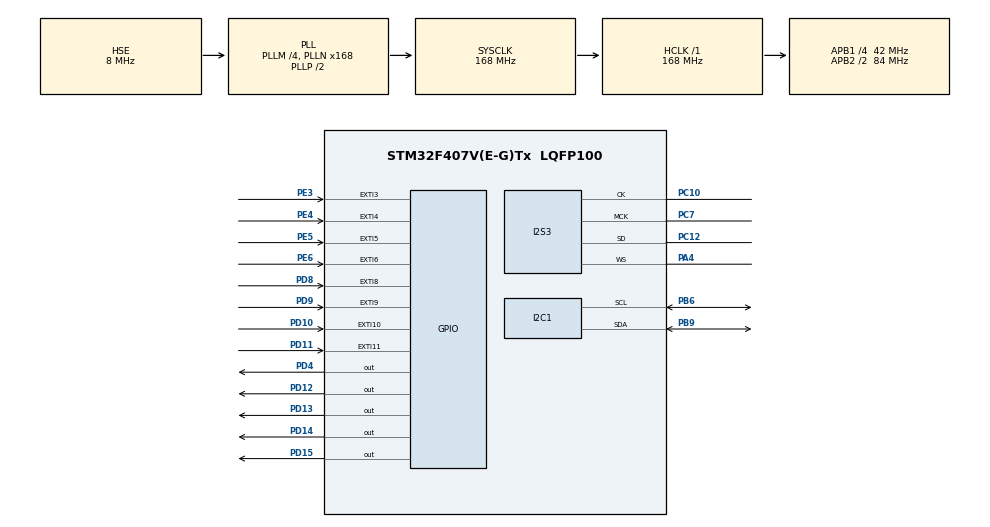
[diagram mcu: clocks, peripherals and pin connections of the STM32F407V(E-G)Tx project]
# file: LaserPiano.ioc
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Dma.Request0=SPI3_TX
Dma.SPI3_TX.0.Direction=DMA_MEMORY_TO_PERIPH
Dma.SPI3_TX.0.FIFOMode=DMA_FIFOMODE_ENABLE
Dma.SPI3_TX.0.FIFOThreshold=DMA_FIFO_THRESHOLD_FULL
Dma.SPI3_TX.0.Instance=DMA1_Stream5
Dma.SPI3_TX.0.MemBurst=DMA_MBURST_SINGLE
Dma.SPI3_TX.0.MemDataAlignment=DMA_MDATAALIGN_HALFWORD
Dma.SPI3_TX.0.MemInc=DMA_MINC_ENABLE
Dma.SPI3_TX.0.Mode=DMA_CIRCULAR
Dma.SPI3_TX.0.PeriphBurst=DMA_PBURST_SINGLE
Dma.SPI3_TX.0.PeriphDataAlignment=DMA_PDATAALIGN_HALFWORD
Dma.SPI3_TX.0.PeriphInc=DMA_PINC_DISABLE
Dma.SPI3_TX.0.Priority=DMA_PRIORITY_LOW
I2S3.AudioFreq=I2S_AUDIOFREQ_48K
I2S3.ErrorAudioFreq=-2.34 %
I2S3.FullDuplexMode=I2S_FULLDUPLEXMODE_DISABLE
I2S3.Instance=SPI$Index
I2S3.RealAudioFreq=46.875 KHz
I2S3.VirtualMode=I2S_MODE_MASTER
Mcu.Family=STM32F4
Mcu.Name=STM32F407V(E-G)Tx
Mcu.Package=LQFP100
NVIC.DMA1_Stream5_IRQn=true\:0\:0\:false\:false\:true\:false\:true
NVIC.EXTI15_10_IRQn=true\:0\:0\:false\:false\:true\:true\:true
NVIC.EXTI3_IRQn=true\:0\:0\:false\:false\:true\:true\:true
NVIC.EXTI4_IRQn=true\:0\:0\:false\:false\:true\:true\:true
NVIC.EXTI9_5_IRQn=true\:0\:0\:false\:false\:true\:true\:true
NVIC.PriorityGroup=NVIC_PRIORITYGROUP_4
NVIC.TIM4_IRQn=true\:0\:0\:false\:false\:true\:true\:true
PA4.Mode=Half_Duplex_Master
PA4.Signal=I2S3_WS
PB6.Mode=I2C
PB6.Signal=I2C1_SCL
PB7.Signal=S_TIM4_CH2
PB9.Mode=I2C
PB9.Signal=I2C1_SDA
PC10.Mode=Half_Duplex_Master
PC10.Signal=I2S3_CK
PC12.Mode=Half_Duplex_Master
PC12.Signal=I2S3_SD
PC7.Mode=Master_Clock_Activated
PC7.Signal=I2S3_MCK
PD10.GPIO_ModeDefaultEXTI=GPIO_MODE_IT_RISING_FALLING
PD10.GPIO_PuPd=GPIO_PULLDOWN
PD10.Signal=GPXTI10
PD11.GPIO_ModeDefaultEXTI=GPIO_MODE_IT_RISING_FALLING
PD11.GPIO_PuPd=GPIO_PULLDOWN
PD11.Signal=GPXTI11
PD12.GPIO_PuPd=GPIO_PULLDOWN
PD12.Signal=GPIO_Output
PD13.GPIO_PuPd=GPIO_PULLDOWN
PD13.Signal=GPIO_Output
PD14.GPIO_PuPd=GPIO_PULLDOWN
PD14.Signal=GPIO_Output
PD15.GPIO_PuPd=GPIO_PULLDOWN
PD15.Signal=GPIO_Output
PD4.Signal=GPIO_Output
PD8.GPIO_ModeDefaultEXTI=GPIO_MODE_IT_RISING_FALLING
PD8.GPIO_PuPd=GPIO_PULLDOWN
PD8.Signal=GPXTI8
PD9.GPIO_ModeDefaultEXTI=GPIO_MODE_IT_RISING_FALLING
PD9.GPIO_PuPd=GPIO_PULLDOWN
PD9.Signal=GPXTI9
PE3.GPIO_ModeDefaultEXTI=GPIO_MODE_IT_RISING_FALLING
PE3.GPIO_PuPd=GPIO_PULLDOWN
PE3.Signal=GPXTI3
PE4.GPIO_ModeDefaultEXTI=GPIO_MODE_IT_RISING_FALLING
PE4.GPIO_PuPd=GPIO_PULLDOWN
PE4.Signal=GPXTI4
PE5.GPIO_ModeDefaultEXTI=GPIO_MODE_IT_RISING_FALLING
PE5.GPIO_PuPd=GPIO_PULLDOWN
PE5.Signal=GPXTI5
PE6.GPIO_ModeDefaultEXTI=GPIO_MODE_IT_RISING_FALLING
PE6.GPIO_PuPd=GPIO_PULLDOWN
PE6.Signal=GPXTI6
PH0-OSC_IN.Mode=HSE-External-Oscillator
PH0-OSC_IN.Signal=RCC_OSC_IN
PH1-OSC_OUT.Mode=HSE-External-Oscillator
PH1-OSC_OUT.Signal=RCC_OSC_OUT
ProjectManager.HeapSize=0x200
ProjectManager.StackSize=0x400
ProjectManager.TargetToolchain=SW4STM32
RCC.48MHZClocksFreq_Value=84000000
RCC.AHBFreq_Value=168000000
RCC.APB1CLKDivider=RCC_HCLK_DIV4
RCC.APB1Freq_Value=42000000
RCC.APB1TimFreq_Value=84000000
RCC.APB2CLKDivider=RCC_HCLK_DIV2
RCC.APB2Freq_Value=84000000
RCC.APB2TimFreq_Value=168000000
RCC.CortexFreq_Value=168000000
RCC.HCLKFreq_Value=168000000
RCC.HSE_VALUE=8000000
RCC.HSI_VALUE=16000000
RCC.LSE_VALUE=32768
RCC.PLLM=4
RCC.PLLN=168
RCC.PLLSourceVirtual=RCC_PLLSOURCE_HSE
RCC.SYSCLKFreq_VALUE=168000000
RCC.SYSCLKSource=RCC_SYSCLKSOURCE_PLLCLK
RCC.VCOOutputFreq_Value=336000000
SH.S_TIM4_CH2.0=TIM4_CH2
TIM4.Period=999
TIM4.Prescaler=167
VP_TIM4_VS_ClockSourceINT.Mode=Internal
board=custom

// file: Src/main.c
/* USER CODE BEGIN Header */
/**
  ******************************************************************************
  * @file           : main.c
  * @brief          : Main program body
  ******************************************************************************
  * @attention
  *
  * <h2><center>&copy; Copyright (c) 2019 STMicroelectronics.
  * All rights reserved.</center></h2>
  *
  * This software component is licensed by ST under BSD 3-Clause license,
  * the "License"; You may not use this file except in compliance with the
  * License. You may obtain a copy of the License at:
  *                        opensource.org/licenses/BSD-3-Clause
  *
  ******************************************************************************
  */
/* USER CODE END Header */

#include "main.h"

/* USER CODE BEGIN Includes */
#include "MY_CS43L22.h"
#include <math.h>
/* USER CODE END Includes */

I2C_HandleTypeDef hi2c1;

I2S_HandleTypeDef hi2s3;
DMA_HandleTypeDef hdma_spi3_tx;

TIM_HandleTypeDef htim4;

/* USER CODE BEGIN PV */
/* Private variables ---------------------------------------------------------*/
#define PI 3.14159f
#define F_SAMPLE			48000.0f
//#define F_OUT				1760.0f
#define OCTAVE				36
float mySinVal;
float sample_dt;
uint16_t sample_N[OCTAVE];
int16_t dataI2S[OCTAVE][100];
int reset[8];	// when equals 0 turns of sound
int onesecond = 300; // 100/100Hz
int oldNotes[2];
int resetNotes[2];
#define C6 (HAL_GPIO_ReadPin(GPIOE,GPIO_PIN_3))
#define D6 (HAL_GPIO_ReadPin(GPIOE,GPIO_PIN_4))
#define E6 (HAL_GPIO_ReadPin(GPIOE,GPIO_PIN_5))
#define F6 (HAL_GPIO_ReadPin(GPIOE,GPIO_PIN_6))
#define G6 (HAL_GPIO_ReadPin(GPIOD,GPIO_PIN_8))
#define A6 (HAL_GPIO_ReadPin(GPIOD,GPIO_PIN_9))
#define H6 (HAL_GPIO_ReadPin(GPIOD,GPIO_PIN_10))
#define C7 (HAL_GPIO_ReadPin(GPIOD,GPIO_PIN_11))

/* USER CODE END PV */

void SystemClock_Config(void);
static void MX_GPIO_Init(void);
static void MX_DMA_Init(void);
static void MX_I2C1_Init(void);
static void MX_I2S3_Init(void);
static void MX_TIM4_Init(void);
/* USER CODE BEGIN PFP */
/* Private function prototypes -----------------------------------------------*/
void generate_samples(int fout[OCTAVE])	// generates sinus waves
{
	for(int k =0; k<OCTAVE; k++)
	  {
		sample_dt = fout[k]/F_SAMPLE;
		sample_N[k] = F_SAMPLE/fout[k];
		for(uint16_t i=0; i<sample_N[k]; i++)
	  	{
	  		mySinVal = sinf(i*2*PI*sample_dt);
	  		dataI2S[k][i*2] = (mySinVal )*8000;    //Right data (0 2 4 6 8 10 12)
	  		dataI2S[k][i*2 + 1] =(mySinVal )*8000; //Left data  (1 3 5 7 9 11 13)
	  	}
	  }
}

void calculateNotes(int toReturn[28], int fout[OCTAVE])	// estimate combination of notes
{
	int x=0;
	for(int j =0; j<8; j++) //calculates 28 combinations of notes
	{
			for(int k=j+1; k<8; k++)
			{
				toReturn[x++]=abs(fout[j]-fout[k]);
			}
	}
}

int calculateNoteCobination(int note1, int note2) // returns index of combined notes
{
	if(note1>note2)	// swaps notes
	{
		note1 = note1^note2;
		note2 = note2^note1;
		note1 = note1^note2;
	}
	if(note2==0)
	{
		return note1 - 1;
	}
	else if(note2==1)
	{
		return note1 + 5;
	}
	else if(note2==2)
	{
		return note1 + 10;
	}
	else if(note2==3)
	{
		return note1 + 14;
	}
	else if(note2==4)
	{
		return note1 + 17;
	}
	else if(note2==5)
	{
		return note1 + 19;
	}
	else if(note2==6)
	{
		return note1 + 20;
	}
}

void switchNotes(int note1, int note2)	// switch current notes
{
	HAL_I2S_DMAStop(&hi2s3);
	if(note2 < 0 && note1>=0)	// if only one note is playing
	{
		HAL_I2S_Transmit_DMA(&hi2s3, (uint16_t *)dataI2S[note1], sample_N[note1]*2);
	}
	else if(note1>=0 && note2>=0)	// if two notes is playing
	{
	  	HAL_I2S_Transmit_DMA(&hi2s3, (uint16_t *)dataI2S[calculateNoteCobination(note1, note2)],
	  			sample_N[calculateNoteCobination(note1, note2)]*2);
	}
}

/* USER CODE END PFP */

/* USER CODE BEGIN 0 */
void HAL_TIM_PeriodElapsedCallback(TIM_HandleTypeDef * htim)
{

	if(htim->Instance == TIM4)
	{
		for(int i = 0; i < 8; i++)
		{
			if(reset[i]>=0)	// counts down time, when note should stop playing
			{
				reset[i]--;
			}
		}
		for(int i = 0; i < 8; i++)
		{
				if(reset[i] < 0) // when note should stop playing
				{
					if(resetNotes[0] == i)
					{
						if(resetNotes[1]>=0)
						{
							resetNotes[0]=resetNotes[1];
							resetNotes[1]=-1;
						}
						else
						{
							resetNotes[0]=-1;
						}
					}
					else if(resetNotes[1] == i)
					{
						resetNotes[1]=-1;
					}
				}
			}
		if ((oldNotes[0]!=resetNotes[0]) || (oldNotes[1]!=resetNotes[1])) // switches notes
		{
			oldNotes[0] = resetNotes[0];
			oldNotes[1] = resetNotes[1];
			switchNotes(resetNotes[0], resetNotes[1]);
		}
	}
}

void setReset(int i)	// sets reset note after one second
{
	if(resetNotes[0] == -1)
	{
		resetNotes[0] = i;
		reset[i] = onesecond;	// turns of sound after one second
	}
	else if(resetNotes[1] == -1)
	{
		resetNotes[1] = i;
		reset[i] = onesecond;
	}
}

void HAL_GPIO_EXTI_Callback(uint16_t GPIO_Pin)//Turns the sound on
{

	if(C6 == GPIO_PIN_RESET)
	{
		//Note C6
		setReset(0);
	}
	if(D6 == GPIO_PIN_RESET)
	{
		//Note D6
		setReset(1);
	}
	if(E6 == GPIO_PIN_RESET)
	{
		//Note E6
		setReset(2);
	}
	if(F6 == GPIO_PIN_RESET)
	{
		//Note F6
		setReset(3);
	}
	if(G6 == GPIO_PIN_RESET)
	{
		//Note G6
		setReset(4);
	}
	if(A6 == GPIO_PIN_RESET)
	{
		//Note A6
		setReset(5);
	}
	if(H6 == GPIO_PIN_RESET)
	{
		//Note H6
		setReset(6);
	}
	if(C7 == GPIO_PIN_RESET)
	{
		//Note C7
		setReset(7);
	}
}

/* USER CODE END 0 */

int main(void)
{
  /* USER CODE BEGIN 1 */
	int notes[8] = {1047,1175,1319,1397,1568,1760,1976,2093}; // notes frequency
  for(int i=0;i<8;i++)
  {
	  reset[i] = 0;
  }
  oldNotes[0] = oldNotes[1] = -1; // turns off notes on start
  resetNotes[0] = resetNotes[1] = -1;
  int calculatedNotes[28];
  calculateNotes(calculatedNotes, notes); // sets up all combined notes
  int fout[OCTAVE];
  for(int i=0;i<8;i++){
	  fout[i]=notes[i];
  }
  int j=0;
  for(int i=8;i<OCTAVE;i++){
  	  fout[i]=calculatedNotes[j];
  	  j++;
    }

  generate_samples(fout);

  /* USER CODE END 1 */

  /* MCU Configuration--------------------------------------------------------*/

  /* Reset of all peripherals, Initializes the Flash interface and the Systick. */
  HAL_Init();

  /* Configure the system clock */
  SystemClock_Config();

  /* Initialize all configured peripherals */
  MX_GPIO_Init();
  MX_DMA_Init();
  MX_I2C1_Init();
  MX_I2S3_Init();
  MX_TIM4_Init();
  /* USER CODE BEGIN 2 */
  CS43_Init(hi2c1, MODE_I2S);
  CS43_SetVolume(80);
  CS43_Enable_RightLeft(CS43_RIGHT_LEFT);
  CS43_Start();
  HAL_TIM_Base_Start_IT(&htim4);
  /* USER CODE END 2 */

  /* Infinite loop */
  while (1)
  {

  }
}

void SystemClock_Config(void)
{
  RCC_OscInitTypeDef RCC_OscInitStruct = {0};
  RCC_ClkInitTypeDef RCC_ClkInitStruct = {0};
  RCC_PeriphCLKInitTypeDef PeriphClkInitStruct = {0};

  /** Configure the main internal regulator output voltage
  */
  __HAL_RCC_PWR_CLK_ENABLE();
  __HAL_PWR_VOLTAGESCALING_CONFIG(PWR_REGULATOR_VOLTAGE_SCALE1);
  /** Initializes the CPU, AHB and APB busses clocks
  */
  RCC_OscInitStruct.OscillatorType = RCC_OSCILLATORTYPE_HSE;
  RCC_OscInitStruct.HSEState = RCC_HSE_ON;
  RCC_OscInitStruct.PLL.PLLState = RCC_PLL_ON;
  RCC_OscInitStruct.PLL.PLLSource = RCC_PLLSOURCE_HSE;
  RCC_OscInitStruct.PLL.PLLM = 4;
  RCC_OscInitStruct.PLL.PLLN = 168;
  RCC_OscInitStruct.PLL.PLLP = RCC_PLLP_DIV2;
  RCC_OscInitStruct.PLL.PLLQ = 4;
  if (HAL_RCC_OscConfig(&RCC_OscInitStruct) != HAL_OK)
  {
    Error_Handler();
  }
  /** Initializes the CPU, AHB and APB busses clocks
  */
  RCC_ClkInitStruct.ClockType = RCC_CLOCKTYPE_HCLK|RCC_CLOCKTYPE_SYSCLK
                              |RCC_CLOCKTYPE_PCLK1|RCC_CLOCKTYPE_PCLK2;
  RCC_ClkInitStruct.SYSCLKSource = RCC_SYSCLKSOURCE_PLLCLK;
  RCC_ClkInitStruct.AHBCLKDivider = RCC_SYSCLK_DIV1;
  RCC_ClkInitStruct.APB1CLKDivider = RCC_HCLK_DIV4;
  RCC_ClkInitStruct.APB2CLKDivider = RCC_HCLK_DIV2;

  if (HAL_RCC_ClockConfig(&RCC_ClkInitStruct, FLASH_LATENCY_5) != HAL_OK)
  {
    Error_Handler();
  }
  PeriphClkInitStruct.PeriphClockSelection = RCC_PERIPHCLK_I2S;
  PeriphClkInitStruct.PLLI2S.PLLI2SN = 192;
  PeriphClkInitStruct.PLLI2S.PLLI2SR = 2;
  if (HAL_RCCEx_PeriphCLKConfig(&PeriphClkInitStruct) != HAL_OK)
  {
    Error_Handler();
  }
}

static void MX_I2C1_Init(void)
{

  hi2c1.Instance = I2C1;
  hi2c1.Init.ClockSpeed = 100000;
  hi2c1.Init.DutyCycle = I2C_DUTYCYCLE_2;
  hi2c1.Init.OwnAddress1 = 0;
  hi2c1.Init.AddressingMode = I2C_ADDRESSINGMODE_7BIT;
  hi2c1.Init.DualAddressMode = I2C_DUALADDRESS_DISABLE;
  hi2c1.Init.OwnAddress2 = 0;
  hi2c1.Init.GeneralCallMode = I2C_GENERALCALL_DISABLE;
  hi2c1.Init.NoStretchMode = I2C_NOSTRETCH_DISABLE;
  if (HAL_I2C_Init(&hi2c1) != HAL_OK)
  {
    Error_Handler();
  }

}

static void MX_I2S3_Init(void)
{

  hi2s3.Instance = SPI3;
  hi2s3.Init.Mode = I2S_MODE_MASTER_TX;
  hi2s3.Init.Standard = I2S_STANDARD_PHILIPS;
  hi2s3.Init.DataFormat = I2S_DATAFORMAT_16B;
  hi2s3.Init.MCLKOutput = I2S_MCLKOUTPUT_ENABLE;
  hi2s3.Init.AudioFreq = I2S_AUDIOFREQ_48K;
  hi2s3.Init.CPOL = I2S_CPOL_LOW;
  hi2s3.Init.ClockSource = I2S_CLOCK_PLL;
  hi2s3.Init.FullDuplexMode = I2S_FULLDUPLEXMODE_DISABLE;
  if (HAL_I2S_Init(&hi2s3) != HAL_OK)
  {
    Error_Handler();
  }

}

static void MX_TIM4_Init(void)
{

  TIM_ClockConfigTypeDef sClockSourceConfig = {0};
  TIM_MasterConfigTypeDef sMasterConfig = {0};

  htim4.Instance = TIM4;
  htim4.Init.Prescaler = 167;
  htim4.Init.CounterMode = TIM_COUNTERMODE_UP;
  htim4.Init.Period = 999;
  htim4.Init.ClockDivision = TIM_CLOCKDIVISION_DIV1;
  htim4.Init.AutoReloadPreload = TIM_AUTORELOAD_PRELOAD_DISABLE;
  if (HAL_TIM_Base_Init(&htim4) != HAL_OK)
  {
    Error_Handler();
  }
  sClockSourceConfig.ClockSource = TIM_CLOCKSOURCE_INTERNAL;
  if (HAL_TIM_ConfigClockSource(&htim4, &sClockSourceConfig) != HAL_OK)
  {
    Error_Handler();
  }
  sMasterConfig.MasterOutputTrigger = TIM_TRGO_RESET;
  sMasterConfig.MasterSlaveMode = TIM_MASTERSLAVEMODE_DISABLE;
  if (HAL_TIMEx_MasterConfigSynchronization(&htim4, &sMasterConfig) != HAL_OK)
  {
    Error_Handler();
  }

}

static void MX_DMA_Init(void)
{
  /* DMA controller clock enable */
  __HAL_RCC_DMA1_CLK_ENABLE();

  /* DMA interrupt init */
  /* DMA1_Stream5_IRQn interrupt configuration */
  HAL_NVIC_SetPriority(DMA1_Stream5_IRQn, 0, 0);
  HAL_NVIC_EnableIRQ(DMA1_Stream5_IRQn);

}

static void MX_GPIO_Init(void)
{
  GPIO_InitTypeDef GPIO_InitStruct = {0};

  /* GPIO Ports Clock Enable */
  __HAL_RCC_GPIOE_CLK_ENABLE();
  __HAL_RCC_GPIOH_CLK_ENABLE();
  __HAL_RCC_GPIOA_CLK_ENABLE();
  __HAL_RCC_GPIOD_CLK_ENABLE();
  __HAL_RCC_GPIOC_CLK_ENABLE();
  __HAL_RCC_GPIOB_CLK_ENABLE();

  /*Configure GPIO pin Output Level */
  HAL_GPIO_WritePin(GPIOD, GPIO_PIN_12|GPIO_PIN_13|GPIO_PIN_14|GPIO_PIN_15
                          |GPIO_PIN_4, GPIO_PIN_RESET);

  /*Configure GPIO pins : PE3 PE4 PE5 PE6 */
  GPIO_InitStruct.Pin = GPIO_PIN_3|GPIO_PIN_4|GPIO_PIN_5|GPIO_PIN_6;
  GPIO_InitStruct.Mode = GPIO_MODE_IT_RISING_FALLING;
  GPIO_InitStruct.Pull = GPIO_PULLDOWN;
  HAL_GPIO_Init(GPIOE, &GPIO_InitStruct);

  /*Configure GPIO pins : PD8 PD9 PD10 PD11 */
  GPIO_InitStruct.Pin = GPIO_PIN_8|GPIO_PIN_9|GPIO_PIN_10|GPIO_PIN_11;
  GPIO_InitStruct.Mode = GPIO_MODE_IT_RISING_FALLING;
  GPIO_InitStruct.Pull = GPIO_PULLDOWN;
  HAL_GPIO_Init(GPIOD, &GPIO_InitStruct);

  /*Configure GPIO pins : PD12 PD13 PD14 PD15 */
  GPIO_InitStruct.Pin = GPIO_PIN_12|GPIO_PIN_13|GPIO_PIN_14|GPIO_PIN_15;
  GPIO_InitStruct.Mode = GPIO_MODE_OUTPUT_PP;
  GPIO_InitStruct.Pull = GPIO_PULLDOWN;
  GPIO_InitStruct.Speed = GPIO_SPEED_FREQ_LOW;
  HAL_GPIO_Init(GPIOD, &GPIO_InitStruct);

  /*Configure GPIO pin : PD4 */
  GPIO_InitStruct.Pin = GPIO_PIN_4;
  GPIO_InitStruct.Mode = GPIO_MODE_OUTPUT_PP;
  GPIO_InitStruct.Pull = GPIO_NOPULL;
  GPIO_InitStruct.Speed = GPIO_SPEED_FREQ_LOW;
  HAL_GPIO_Init(GPIOD, &GPIO_InitStruct);

  /* EXTI interrupt init*/
  HAL_NVIC_SetPriority(EXTI3_IRQn, 0, 0);
  HAL_NVIC_EnableIRQ(EXTI3_IRQn);

  HAL_NVIC_SetPriority(EXTI4_IRQn, 0, 0);
  HAL_NVIC_EnableIRQ(EXTI4_IRQn);

  HAL_NVIC_SetPriority(EXTI9_5_IRQn, 0, 0);
  HAL_NVIC_EnableIRQ(EXTI9_5_IRQn);

  HAL_NVIC_SetPriority(EXTI15_10_IRQn, 0, 0);
  HAL_NVIC_EnableIRQ(EXTI15_10_IRQn);

}

void Error_Handler(void)
{
  while(1)
  {
  }
}

/************************ (C) COPYRIGHT STMicroelectronics *****END OF FILE****/
